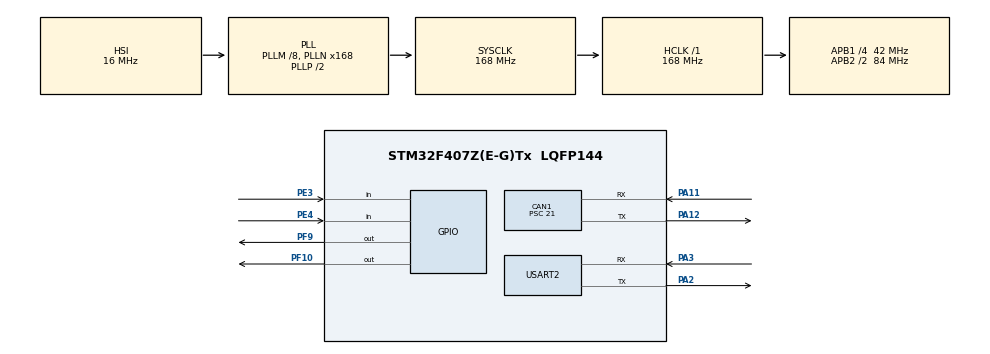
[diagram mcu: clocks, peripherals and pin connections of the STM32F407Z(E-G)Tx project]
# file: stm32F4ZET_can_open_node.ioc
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CAN1.BS1=CAN_BS1_2TQ
CAN1.CalculateBaudRate=500000
CAN1.CalculateTimeBit=2000
CAN1.CalculateTimeQuantum=500.0
CAN1.NART=DISABLE
CAN1.Prescaler=21
Mcu.Family=STM32F4
Mcu.Name=STM32F407Z(E-G)Tx
Mcu.Package=LQFP144
NVIC.CAN1_RX0_IRQn=true\:0\:0\:false\:false\:true\:true\:true\:true
NVIC.CAN1_RX1_IRQn=true\:0\:0\:false\:false\:true\:true\:true\:true
NVIC.CAN1_SCE_IRQn=true\:0\:0\:false\:false\:true\:true\:true\:true
NVIC.CAN1_TX_IRQn=true\:0\:0\:false\:false\:true\:true\:true\:true
NVIC.PriorityGroup=NVIC_PRIORITYGROUP_4
NVIC.TIM8_TRG_COM_TIM14_IRQn=true\:0\:0\:false\:false\:true\:true\:true\:true
PA11.Mode=CAN_Activate
PA11.Signal=CAN1_RX
PA12.Mode=CAN_Activate
PA12.Signal=CAN1_TX
PA13.Mode=Serial_Wire
PA13.Signal=SYS_JTMS-SWDIO
PA14.Mode=Serial_Wire
PA14.Signal=SYS_JTCK-SWCLK
PA2.Mode=Asynchronous
PA2.Signal=USART2_TX
PA3.Mode=Asynchronous
PA3.Signal=USART2_RX
PC14-OSC32_IN.Mode=LSE-External-Oscillator
PC14-OSC32_IN.Signal=RCC_OSC32_IN
PC15-OSC32_OUT.Mode=LSE-External-Oscillator
PC15-OSC32_OUT.Signal=RCC_OSC32_OUT
PE3.Signal=GPIO_Input
PE4.Signal=GPIO_Input
PF10.PinState=GPIO_PIN_SET
PF10.Signal=GPIO_Output
PF9.PinState=GPIO_PIN_SET
PF9.Signal=GPIO_Output
PH0-OSC_IN.Mode=HSE-External-Oscillator
PH0-OSC_IN.Signal=RCC_OSC_IN
PH1-OSC_OUT.Mode=HSE-External-Oscillator
PH1-OSC_OUT.Signal=RCC_OSC_OUT
ProjectManager.HeapSize=0x200
ProjectManager.StackSize=0x400
ProjectManager.TargetToolchain=STM32CubeIDE
RCC.48MHZClocksFreq_Value=84000000
RCC.AHBFreq_Value=168000000
RCC.APB1CLKDivider=RCC_HCLK_DIV4
RCC.APB1Freq_Value=42000000
RCC.APB1TimFreq_Value=84000000
RCC.APB2CLKDivider=RCC_HCLK_DIV2
RCC.APB2Freq_Value=84000000
RCC.APB2TimFreq_Value=168000000
RCC.CortexFreq_Value=168000000
RCC.HCLKFreq_Value=168000000
RCC.HSE_VALUE=8000000
RCC.HSI_VALUE=16000000
RCC.PLLM=8
RCC.PLLN=168
RCC.SYSCLKFreq_VALUE=168000000
RCC.SYSCLKSource=RCC_SYSCLKSOURCE_PLLCLK
RCC.VCOOutputFreq_Value=336000000
TIM14.AutoReloadPreload=TIM_AUTORELOAD_PRELOAD_ENABLE
TIM14.Period=2000
TIM14.Prescaler=168-1
USART2.VirtualMode=VM_ASYNC
VP_TIM14_VS_ClockSourceINT.Mode=Enable_Timer
board=custom

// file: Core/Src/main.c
/* USER CODE BEGIN Header */
/**
  ******************************************************************************
  * @file           : main.c
  * @brief          : Main program body
  ******************************************************************************
  * @attention
  *
  * Copyright (c) 2024 STMicroelectronics.
  * All rights reserved.
  *
  * This software is licensed under terms that can be found in the LICENSE file
  * in the root directory of this software component.
  * If no LICENSE file comes with this software, it is provided AS-IS.
  *
  ******************************************************************************
  */
/* USER CODE END Header */
#include "main.h"

/* USER CODE BEGIN Includes */
#include "string.h"
#include "CO_app_STM32.h"
#include "CANopen.h"
#include "../CANopenNode/301/CO_driver.h"
#include "../CANopenNode/301/CO_SDOclient.h"
#include "../CANopenNode/301/CO_NMT_Heartbeat.h"
#include "../CANopenNode/301/CO_PDO.h"
#include "../CANopenNode/301/CO_fifo.h"
#include "../CANopenNode/301/CO_HBconsumer.h"
#include "OD.h"
#include <stdio.h>
extern CO_t *CO;

#define LED10_GPIO_Port GPIOF
#define LED10_Pin GPIO_PIN_10
#define LED9_GPIO_Port GPIOF
#define LED9_Pin GPIO_PIN_9

/* USER CODE END Includes */

CAN_HandleTypeDef hcan1;

TIM_HandleTypeDef htim14;

UART_HandleTypeDef huart2;

/* USER CODE BEGIN PV */

CANopenNodeSTM32 canOpenNodeSTM32;
CO_HBconsumer_t HBcons;
CO_HBconsNode_t HBconsNodes[1];
uint32_t errInfo;
uint32_t timerNext_us = 0;
/* USER CODE END PV */

void SystemClock_Config(void);
static void MX_GPIO_Init(void);
static void MX_CAN1_Init(void);
static void MX_TIM14_Init(void);
static void MX_USART2_UART_Init(void);

/* USER CODE BEGIN 0 */

void HAL_TIM_PeriodElapsedCallback(TIM_HandleTypeDef *htim) {
    if (htim == &htim14) {
        canopen_app_interrupt();
        HAL_UART_Transmit(&huart2, (uint8_t*)"TIM14 interrupt\r\n", strlen("TIM14 interrupt\r\n"), HAL_MAX_DELAY);
    }
}

int __io_putchar(int ch) {
    HAL_UART_Transmit(&huart2, (uint8_t *)&ch, 1, HAL_MAX_DELAY);
    return ch;
}

/* USER CODE END 0 */

int main(void)
{

  /* MCU Configuration--------------------------------------------------------*/

  /* Reset of all peripherals, Initializes the Flash interface and the Systick. */
  HAL_Init();

  /* USER CODE BEGIN Init */

  HAL_UART_Transmit(&huart2, (uint8_t*)"Starting application\r\n", strlen("Starting application\r\n"), HAL_MAX_DELAY);

  /* USER CODE END Init */

  /* Configure the system clock */
  SystemClock_Config();

  /* Initialize all configured peripherals */
  MX_GPIO_Init();
  MX_CAN1_Init();
  MX_TIM14_Init();
  MX_USART2_UART_Init();
  /* USER CODE BEGIN 2 */

  canOpenNodeSTM32.CANHandle = &hcan1;
  canOpenNodeSTM32.HWInitFunction = MX_CAN1_Init;
  canOpenNodeSTM32.timerHandle = &htim14;
  canOpenNodeSTM32.desiredNodeID = 66;
  canOpenNodeSTM32.baudrate = 500;
  canopen_app_init(&canOpenNodeSTM32);

  if (CO != NULL) {
        CO_HBconsumer_init(&HBcons, CO->em, HBconsNodes, 1, OD_ENTRY_H1016, &CO->CANmodule[0], 0, &errInfo);
        CO_HBconsumer_initCallbackPre(&HBcons, NULL, NULL); // Убедимся, что функция вызвана правильно
    } else {
        HAL_UART_Transmit(&huart2, (uint8_t*)"CO not initialized\r\n", strlen("CO not initialized\r\n"), HAL_MAX_DELAY);
    }
  /*
   *
   * *CO_HBconsumer_t HBcons:
Указатель на структуру Heartbeat Consumer.
*CO_EM_t em:
Указатель на структуру для управления ошибками (Error Management).
*CO_HBconsNode_t HBconsNodeArray:
Указатель на массив структур CO_HBconsNode_t, который будет использоваться для хранения информации о мониторируемых узлах.
uint8_t numberOfMonitoredNodes:
Количество узлов, которые будут мониториться.
*OD_entry_t OD_1016:
Указатель на объект в словаре объектов (Object Dictionary) для входа 0x1016 (Consumer Heartbeat Time).
*CO_CANmodule_t CANdevRx:
Указатель на модуль CAN для приема сообщений.
uint16_t CANdevRxIdxStart:
Начальный индекс в массиве принимаемых сообщений для Heartbeat Consumer.
*uint32_t errInfo:
Указатель на переменную для хранения информации об ошибках.
   *
   */

//CO_HBconsumer_initCallbackPre(&HBcons, NULL, NULL);
  /*
   * Указатель на структуру Heartbeat Consumer, инициализированную ранее функцией CO_HBconsumer_init.
   *
   */

  /* USER CODE END 2 */

  /* Infinite loop */
  /* USER CODE BEGIN WHILE */
  while (1)
  {

    canopen_app_process();
    CO_HBconsumer_process(&HBcons, true, 1000, NULL);
    HAL_Delay(1000);  // Увеличил задержку для уменьшения частоты вывода в UART

  }
    /* USER CODE END WHILE */

}

void SystemClock_Config(void)
{
  RCC_OscInitTypeDef RCC_OscInitStruct = {0};
  RCC_ClkInitTypeDef RCC_ClkInitStruct = {0};

  /** Configure the main internal regulator output voltage
  */
  __HAL_RCC_PWR_CLK_ENABLE();
  __HAL_PWR_VOLTAGESCALING_CONFIG(PWR_REGULATOR_VOLTAGE_SCALE1);

  /** Initializes the RCC Oscillators according to the specified parameters
  * in the RCC_OscInitTypeDef structure.
  */
  RCC_OscInitStruct.OscillatorType = RCC_OSCILLATORTYPE_HSI;
  RCC_OscInitStruct.HSIState = RCC_HSI_ON;
  RCC_OscInitStruct.HSICalibrationValue = RCC_HSICALIBRATION_DEFAULT;
  RCC_OscInitStruct.PLL.PLLState = RCC_PLL_ON;
  RCC_OscInitStruct.PLL.PLLSource = RCC_PLLSOURCE_HSI;
  RCC_OscInitStruct.PLL.PLLM = 8;
  RCC_OscInitStruct.PLL.PLLN = 168;
  RCC_OscInitStruct.PLL.PLLP = RCC_PLLP_DIV2;
  RCC_OscInitStruct.PLL.PLLQ = 4;
  if (HAL_RCC_OscConfig(&RCC_OscInitStruct) != HAL_OK)
  {
    Error_Handler();
  }

  /** Initializes the CPU, AHB and APB buses clocks
  */
  RCC_ClkInitStruct.ClockType = RCC_CLOCKTYPE_HCLK|RCC_CLOCKTYPE_SYSCLK
                              |RCC_CLOCKTYPE_PCLK1|RCC_CLOCKTYPE_PCLK2;
  RCC_ClkInitStruct.SYSCLKSource = RCC_SYSCLKSOURCE_PLLCLK;
  RCC_ClkInitStruct.AHBCLKDivider = RCC_SYSCLK_DIV1;
  RCC_ClkInitStruct.APB1CLKDivider = RCC_HCLK_DIV4;
  RCC_ClkInitStruct.APB2CLKDivider = RCC_HCLK_DIV2;

  if (HAL_RCC_ClockConfig(&RCC_ClkInitStruct, FLASH_LATENCY_5) != HAL_OK)
  {
    Error_Handler();
  }
}

static void MX_CAN1_Init(void)
{

  hcan1.Instance = CAN1;
  hcan1.Init.Prescaler = 21;
  hcan1.Init.Mode = CAN_MODE_NORMAL;
  hcan1.Init.SyncJumpWidth = CAN_SJW_1TQ;
  hcan1.Init.TimeSeg1 = CAN_BS1_2TQ;
  hcan1.Init.TimeSeg2 = CAN_BS2_1TQ;
  hcan1.Init.TimeTriggeredMode = DISABLE;
  hcan1.Init.AutoBusOff = DISABLE;
  hcan1.Init.AutoWakeUp = DISABLE;
  hcan1.Init.AutoRetransmission = DISABLE;
  hcan1.Init.ReceiveFifoLocked = DISABLE;
  hcan1.Init.TransmitFifoPriority = DISABLE;
  if (HAL_CAN_Init(&hcan1) != HAL_OK)
  {
    Error_Handler();
  }

}

static void MX_TIM14_Init(void)
{

  htim14.Instance = TIM14;
  htim14.Init.Prescaler = 168-1;
  htim14.Init.CounterMode = TIM_COUNTERMODE_UP;
  htim14.Init.Period = 2000;
  htim14.Init.ClockDivision = TIM_CLOCKDIVISION_DIV1;
  htim14.Init.AutoReloadPreload = TIM_AUTORELOAD_PRELOAD_ENABLE;
  if (HAL_TIM_Base_Init(&htim14) != HAL_OK)
  {
    Error_Handler();
  }

}

static void MX_USART2_UART_Init(void)
{

  huart2.Instance = USART2;
  huart2.Init.BaudRate = 115200;
  huart2.Init.WordLength = UART_WORDLENGTH_8B;
  huart2.Init.StopBits = UART_STOPBITS_1;
  huart2.Init.Parity = UART_PARITY_NONE;
  huart2.Init.Mode = UART_MODE_TX_RX;
  huart2.Init.HwFlowCtl = UART_HWCONTROL_NONE;
  huart2.Init.OverSampling = UART_OVERSAMPLING_16;
  if (HAL_UART_Init(&huart2) != HAL_OK)
  {
    Error_Handler();
  }

}

static void MX_GPIO_Init(void)
{
  GPIO_InitTypeDef GPIO_InitStruct = {0};

  /* GPIO Ports Clock Enable */
  __HAL_RCC_GPIOE_CLK_ENABLE();
  __HAL_RCC_GPIOC_CLK_ENABLE();
  __HAL_RCC_GPIOF_CLK_ENABLE();
  __HAL_RCC_GPIOH_CLK_ENABLE();
  __HAL_RCC_GPIOA_CLK_ENABLE();

  /*Configure GPIO pin Output Level */
  HAL_GPIO_WritePin(GPIOF, GPIO_PIN_9|GPIO_PIN_10, GPIO_PIN_SET);

  /*Configure GPIO pins : PE3 PE4 */
  GPIO_InitStruct.Pin = GPIO_PIN_3|GPIO_PIN_4;
  GPIO_InitStruct.Mode = GPIO_MODE_INPUT;
  GPIO_InitStruct.Pull = GPIO_NOPULL;
  HAL_GPIO_Init(GPIOE, &GPIO_InitStruct);

  /*Configure GPIO pins : PF9 PF10 */
  GPIO_InitStruct.Pin = GPIO_PIN_9|GPIO_PIN_10;
  GPIO_InitStruct.Mode = GPIO_MODE_OUTPUT_PP;
  GPIO_InitStruct.Pull = GPIO_NOPULL;
  GPIO_InitStruct.Speed = GPIO_SPEED_FREQ_LOW;
  HAL_GPIO_Init(GPIOF, &GPIO_InitStruct);

}

void Error_Handler(void)
{
  __disable_irq();
  while (1)
  {
  }
}
